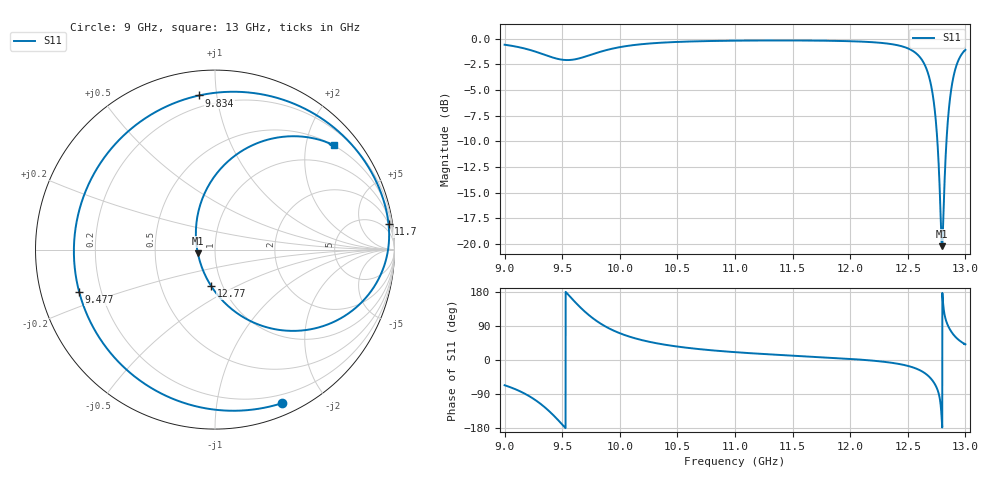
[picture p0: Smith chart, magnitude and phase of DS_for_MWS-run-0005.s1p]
! TOUCHSTONE file generated by CST DESIGN STUDIO
! Date and time: Tue Feb  4 18:43:53 2025
! Project name: C:\Work\MatlabApps\UnitCellOptimizationMatlab\CST\unitcell.cst
! Tree item: Tasks\Sweep1\SPara1\S-Parameters
! Header version: 2024
! Port assignment regex: !\s*Touchstone port\s*([0-9]+)\s*=\s*(CST MWS port|CST DES external port|CST DES block port)\s*(.+)\s* \(\"(.*)\"\)(\s*mode\s*([0-9]+))?.*
! Touchstone port assignment:
! Touchstone port 1 = CST DES external port 1 ("")
# GHz S MA R 50
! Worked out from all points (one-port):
!   4001 points, 9 GHz to 13 GHz, reference 50 ohm
!   lowest |S11| = -20.2 dB at 12.8 GHz (marker M1), VSWR 1.22, Z = 41.2 - j1.74 ohm
!   |S11| at or under -10 dB: 12.76 GHz to 12.84 GHz (78.59 MHz wide, 0.614 % of centre)
!   S11 on the Smith chart (normalised r, x): 9 GHz: 0.11, -1.52; 9.477 GHz: 0.12, -0.15; 9.834 GHz: 0.13, +0.89; 11.7 GHz: 2, +13; 12.77 GHz: 0.88, -0.38; 13 GHz: 0.49, +2.57
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9  0.9333 -66.6
9.161  0.8981 -86.6
9.275  0.8611 -107.4
9.374  0.8238 -131.5
9.477  0.7928 -162.6
9.5  0.7889 -170.2
9.583  0.7881 162.2
9.677  0.8094 133.1
9.752  0.835 113.5
9.834  0.8633 95.9
10  0.9082 70.7
10.216  0.9418 50.7
10.5  0.963 35.4
11  0.9765 20.7
11.5  0.9787 11.5
11.698  0.9772 8.3
12  0.9706 2.9
12.5  0.8963 -15.5
12.611  0.8045 -27.9
12.693  0.6246 -46.5
12.741  0.4113 -67.0
12.774  0.2052 -95.8
12.797  0.09778 -167.7
12.81  0.1423 138.6
12.847  0.3936 91.9
12.885  0.6041 71.6
12.945  0.7964 52.2
13  0.881 41.4
